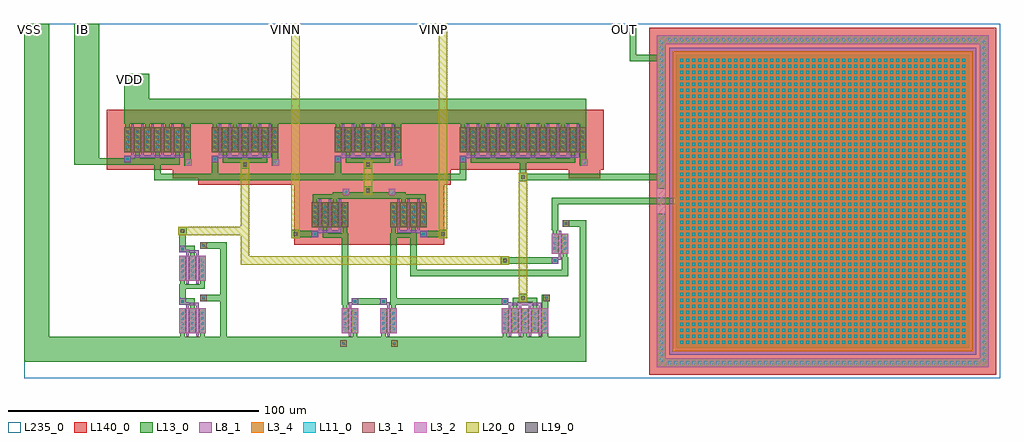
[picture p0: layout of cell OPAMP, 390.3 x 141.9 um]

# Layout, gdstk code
from math import pi, radians
import gdstk
lib = gdstk.Library(unit=1e-6, precision=1e-07)
def R(c, l, rs):  # rectangles x0, y0, x1, y1
    for r in rs: c.add(gdstk.rectangle(r[:2], r[2:], *l))
def A(c, l, x, y, w, h, nx, ny, dx, dy):  # array of equal rectangles
    R(c, l, [(x+i*dx, y+j*dy, x+i*dx+w, y+j*dy+h) for i in range(nx) for j in range(ny)])
def P(c, l, *ps):  # polygons
    for p in ps: c.add(gdstk.Polygon(p, *l))
L3_1 = (3, 1)
L3_2 = (3, 2)
L3_4 = (3, 4)
L8_1 = (8, 1)
L11_0 = (11, 0)
L13_0 = (13, 0)
L19_0 = (19, 0)
L20_0 = (20, 0)
L140_0 = (140, 0)
L235_0 = (235, 0)

dcont = lib.new_cell('dcont')
R(dcont, L11_0, [(-0.5,-0.5,0.5,0.5)])
R(dcont, L13_0, [(-1.3,-1.3,1.3,1.3), (-0.5,-0.5,0.5,0.5)])

nsubcont = lib.new_cell('nsubcont')
R(nsubcont, L3_2, [(-1.3,-1.3,1.3,1.3)])
R(nsubcont, L11_0, [(-0.5,-0.5,0.5,0.5)])
R(nsubcont, L13_0, [(-1.3,-1.3,1.3,1.3), (-0.5,-0.5,0.5,0.5)])
R(nsubcont, L140_0, [(-6.3,-6.3,6.3,6.3)])

mp_4 = lib.new_cell('MP$4')
R(mp_4, L3_1, [(0,3.6,50.6,13.6), (0,3.6,50.6,13.6)])
P(mp_4, L8_1, [(0,-0.4),(0,2.2),(2.8,2.2),(2.8,14.8),(3.8,14.8),(3.8,2.4),(6.8,2.4),(6.8,14.8),(7.8,14.8),(7.8,2.4),(10.8,2.4),(10.8,14.8),(11.8,14.8),(11.8,2.4),(14.8,2.4),(14.8,14.8),(15.8,14.8),(15.8,2.4),(18.8,2.4),(18.8,14.8),(19.8,14.8),(19.8,2.4),(22.8,2.4),(22.8,14.8),(23.8,14.8),(23.8,2.4),(26.8,2.4),(26.8,14.8),(27.8,14.8),(27.8,2.4),(30.8,2.4),(30.8,14.8),(31.8,14.8),(31.8,2.4),(34.8,2.4),(34.8,14.8),(35.8,14.8),(35.8,2.4),(38.8,2.4),(38.8,14.8),(39.8,14.8),(39.8,2.4),(42.8,2.4),(42.8,14.8),(43.8,14.8),(43.8,2.4),(46.8,2.4),(46.8,14.8),(47.8,14.8),(47.8,1.4),(3.8,1.4),(3.8,1.2),(2.6,1.2),(2.6,-0.4)])
R(mp_4, L11_0, [(0.8,0.4,1.8,1.4)])
R(mp_4, L13_0, [(0,-0.4,2.6,2.2), (0.8,0.4,1.8,1.4)])
R(mp_4, L140_0, [(-7,-3.4,57.6,20.6)])
mp_4.add(gdstk.FlexPath([(1.3,3.6),(1.3,13.6)], 2.6, ends="flush", simple_path=True, layer=13, datatype=0))  # L13_0
mp_4.add(gdstk.FlexPath([(5.3,3.6),(5.3,13.6)], 2.6, ends="flush", simple_path=True, layer=13, datatype=0))  # L13_0
mp_4.add(gdstk.FlexPath([(9.3,3.6),(9.3,13.6)], 2.6, ends="flush", simple_path=True, layer=13, datatype=0))  # L13_0
mp_4.add(gdstk.FlexPath([(13.3,3.6),(13.3,13.6)], 2.6, ends="flush", simple_path=True, layer=13, datatype=0))  # L13_0
mp_4.add(gdstk.FlexPath([(17.3,3.6),(17.3,13.6)], 2.6, ends="flush", simple_path=True, layer=13, datatype=0))  # L13_0
mp_4.add(gdstk.FlexPath([(21.3,3.6),(21.3,13.6)], 2.6, ends="flush", simple_path=True, layer=13, datatype=0))  # L13_0
mp_4.add(gdstk.FlexPath([(25.3,3.6),(25.3,13.6)], 2.6, ends="flush", simple_path=True, layer=13, datatype=0))  # L13_0
mp_4.add(gdstk.FlexPath([(29.3,3.6),(29.3,13.6)], 2.6, ends="flush", simple_path=True, layer=13, datatype=0))  # L13_0
mp_4.add(gdstk.FlexPath([(33.3,3.6),(33.3,13.6)], 2.6, ends="flush", simple_path=True, layer=13, datatype=0))  # L13_0
mp_4.add(gdstk.FlexPath([(37.3,3.6),(37.3,13.6)], 2.6, ends="flush", simple_path=True, layer=13, datatype=0))  # L13_0
mp_4.add(gdstk.FlexPath([(41.3,3.6),(41.3,13.6)], 2.6, ends="flush", simple_path=True, layer=13, datatype=0))  # L13_0
mp_4.add(gdstk.FlexPath([(45.3,3.6),(45.3,13.6)], 2.6, ends="flush", simple_path=True, layer=13, datatype=0))  # L13_0
mp_4.add(gdstk.FlexPath([(49.3,3.6),(49.3,13.6)], 2.6, ends="flush", simple_path=True, layer=13, datatype=0))  # L13_0
mp_4.add(gdstk.FlexPath([(1.3,12.6),(1.3,15.9)], 1.8, ends="flush", simple_path=True, layer=13, datatype=0))  # L13_0
mp_4.add(gdstk.FlexPath([(5.3,0.3),(5.3,4.6)], 1.8, ends="flush", simple_path=True, layer=13, datatype=0))  # L13_0
mp_4.add(gdstk.FlexPath([(9.3,12.6),(9.3,15.9)], 1.8, ends="flush", simple_path=True, layer=13, datatype=0))  # L13_0
mp_4.add(gdstk.FlexPath([(1.3,15.9),(9.3,15.9)], 1.8, ends="extended", simple_path=True, layer=13, datatype=0))  # L13_0
mp_4.add(gdstk.FlexPath([(13.3,0.3),(13.3,4.6)], 1.8, ends="flush", simple_path=True, layer=13, datatype=0))  # L13_0
mp_4.add(gdstk.FlexPath([(5.3,0.3),(13.3,0.3)], 1.8, ends="extended", simple_path=True, layer=13, datatype=0))  # L13_0
mp_4.add(gdstk.FlexPath([(17.3,12.6),(17.3,15.9)], 1.8, ends="flush", simple_path=True, layer=13, datatype=0))  # L13_0
mp_4.add(gdstk.FlexPath([(9.3,15.9),(17.3,15.9)], 1.8, ends="extended", simple_path=True, layer=13, datatype=0))  # L13_0
mp_4.add(gdstk.FlexPath([(21.3,0.3),(21.3,4.6)], 1.8, ends="flush", simple_path=True, layer=13, datatype=0))  # L13_0
mp_4.add(gdstk.FlexPath([(13.3,0.3),(21.3,0.3)], 1.8, ends="extended", simple_path=True, layer=13, datatype=0))  # L13_0
mp_4.add(gdstk.FlexPath([(25.3,12.6),(25.3,15.9)], 1.8, ends="flush", simple_path=True, layer=13, datatype=0))  # L13_0
mp_4.add(gdstk.FlexPath([(17.3,15.9),(25.3,15.9)], 1.8, ends="extended", simple_path=True, layer=13, datatype=0))  # L13_0
mp_4.add(gdstk.FlexPath([(29.3,0.3),(29.3,4.6)], 1.8, ends="flush", simple_path=True, layer=13, datatype=0))  # L13_0
mp_4.add(gdstk.FlexPath([(21.3,0.3),(29.3,0.3)], 1.8, ends="extended", simple_path=True, layer=13, datatype=0))  # L13_0
mp_4.add(gdstk.FlexPath([(33.3,12.6),(33.3,15.9)], 1.8, ends="flush", simple_path=True, layer=13, datatype=0))  # L13_0
mp_4.add(gdstk.FlexPath([(25.3,15.9),(33.3,15.9)], 1.8, ends="extended", simple_path=True, layer=13, datatype=0))  # L13_0
mp_4.add(gdstk.FlexPath([(37.3,0.3),(37.3,4.6)], 1.8, ends="flush", simple_path=True, layer=13, datatype=0))  # L13_0
mp_4.add(gdstk.FlexPath([(29.3,0.3),(37.3,0.3)], 1.8, ends="extended", simple_path=True, layer=13, datatype=0))  # L13_0
mp_4.add(gdstk.FlexPath([(41.3,12.6),(41.3,15.9)], 1.8, ends="flush", simple_path=True, layer=13, datatype=0))  # L13_0
mp_4.add(gdstk.FlexPath([(33.3,15.9),(41.3,15.9)], 1.8, ends="extended", simple_path=True, layer=13, datatype=0))  # L13_0
mp_4.add(gdstk.FlexPath([(45.3,0.3),(45.3,4.6)], 1.8, ends="flush", simple_path=True, layer=13, datatype=0))  # L13_0
mp_4.add(gdstk.FlexPath([(37.3,0.3),(45.3,0.3)], 1.8, ends="extended", simple_path=True, layer=13, datatype=0))  # L13_0
mp_4.add(gdstk.FlexPath([(49.3,12.6),(49.3,15.9)], 1.8, ends="flush", simple_path=True, layer=13, datatype=0))  # L13_0
mp_4.add(gdstk.FlexPath([(41.3,15.9),(49.3,15.9)], 1.8, ends="extended", simple_path=True, layer=13, datatype=0))  # L13_0
mp_4.add(gdstk.Reference(dcont, (1.3,5.6)))
mp_4.add(gdstk.Reference(dcont, (1.3,7.6)))
mp_4.add(gdstk.Reference(dcont, (1.3,9.6)))
mp_4.add(gdstk.Reference(dcont, (1.3,11.6)))
mp_4.add(gdstk.Reference(dcont, (5.3,5.6)))
mp_4.add(gdstk.Reference(dcont, (5.3,7.6)))
mp_4.add(gdstk.Reference(dcont, (5.3,9.6)))
mp_4.add(gdstk.Reference(dcont, (5.3,11.6)))
mp_4.add(gdstk.Reference(dcont, (9.3,5.6)))
mp_4.add(gdstk.Reference(dcont, (9.3,7.6)))
mp_4.add(gdstk.Reference(dcont, (9.3,9.6)))
mp_4.add(gdstk.Reference(dcont, (9.3,11.6)))
mp_4.add(gdstk.Reference(dcont, (13.3,5.6)))
mp_4.add(gdstk.Reference(dcont, (13.3,7.6)))
mp_4.add(gdstk.Reference(dcont, (13.3,9.6)))
mp_4.add(gdstk.Reference(dcont, (13.3,11.6)))
mp_4.add(gdstk.Reference(dcont, (17.3,5.6)))
mp_4.add(gdstk.Reference(dcont, (17.3,7.6)))
mp_4.add(gdstk.Reference(dcont, (17.3,9.6)))
mp_4.add(gdstk.Reference(dcont, (17.3,11.6)))
mp_4.add(gdstk.Reference(dcont, (21.3,5.6)))
mp_4.add(gdstk.Reference(dcont, (21.3,7.6)))
mp_4.add(gdstk.Reference(dcont, (21.3,9.6)))
mp_4.add(gdstk.Reference(dcont, (21.3,11.6)))
mp_4.add(gdstk.Reference(dcont, (25.3,5.6)))
mp_4.add(gdstk.Reference(dcont, (25.3,7.6)))
mp_4.add(gdstk.Reference(dcont, (25.3,9.6)))
mp_4.add(gdstk.Reference(dcont, (25.3,11.6)))
mp_4.add(gdstk.Reference(dcont, (29.3,5.6)))
mp_4.add(gdstk.Reference(dcont, (29.3,7.6)))
mp_4.add(gdstk.Reference(dcont, (29.3,9.6)))
mp_4.add(gdstk.Reference(dcont, (29.3,11.6)))
mp_4.add(gdstk.Reference(dcont, (33.3,5.6)))
mp_4.add(gdstk.Reference(dcont, (33.3,7.6)))
mp_4.add(gdstk.Reference(dcont, (33.3,9.6)))
mp_4.add(gdstk.Reference(dcont, (33.3,11.6)))
mp_4.add(gdstk.Reference(dcont, (37.3,5.6)))
mp_4.add(gdstk.Reference(dcont, (37.3,7.6)))
mp_4.add(gdstk.Reference(dcont, (37.3,9.6)))
mp_4.add(gdstk.Reference(dcont, (37.3,11.6)))
mp_4.add(gdstk.Reference(dcont, (41.3,5.6)))
mp_4.add(gdstk.Reference(dcont, (41.3,7.6)))
mp_4.add(gdstk.Reference(dcont, (41.3,9.6)))
mp_4.add(gdstk.Reference(dcont, (41.3,11.6)))
mp_4.add(gdstk.Reference(dcont, (45.3,5.6)))
mp_4.add(gdstk.Reference(dcont, (45.3,7.6)))
mp_4.add(gdstk.Reference(dcont, (45.3,9.6)))
mp_4.add(gdstk.Reference(dcont, (45.3,11.6)))
mp_4.add(gdstk.Reference(dcont, (49.3,5.6)))
mp_4.add(gdstk.Reference(dcont, (49.3,7.6)))
mp_4.add(gdstk.Reference(dcont, (49.3,9.6)))
mp_4.add(gdstk.Reference(dcont, (49.3,11.6)))
mp_4.add(gdstk.Reference(nsubcont, (49.8,-0.5)))

mp_9 = lib.new_cell('MP$9')
R(mp_9, L3_1, [(0,3.6,26.6,13.6), (0,3.6,26.6,13.6)])
P(mp_9, L8_1, [(0,-0.4),(0,2.2),(2.8,2.2),(2.8,14.8),(3.8,14.8),(3.8,2.4),(6.8,2.4),(6.8,14.8),(7.8,14.8),(7.8,2.4),(10.8,2.4),(10.8,14.8),(11.8,14.8),(11.8,2.4),(14.8,2.4),(14.8,14.8),(15.8,14.8),(15.8,2.4),(18.8,2.4),(18.8,14.8),(19.8,14.8),(19.8,2.4),(22.8,2.4),(22.8,14.8),(23.8,14.8),(23.8,1.4),(3.8,1.4),(3.8,1.2),(2.6,1.2),(2.6,-0.4)])
R(mp_9, L11_0, [(0.8,0.4,1.8,1.4)])
R(mp_9, L13_0, [(0,-0.4,2.6,2.2), (0.8,0.4,1.8,1.4)])
R(mp_9, L140_0, [(-7,-3.4,33.6,20.6)])
mp_9.add(gdstk.FlexPath([(1.3,3.6),(1.3,13.6)], 2.6, ends="flush", simple_path=True, layer=13, datatype=0))  # L13_0
mp_9.add(gdstk.FlexPath([(5.3,3.6),(5.3,13.6)], 2.6, ends="flush", simple_path=True, layer=13, datatype=0))  # L13_0
mp_9.add(gdstk.FlexPath([(9.3,3.6),(9.3,13.6)], 2.6, ends="flush", simple_path=True, layer=13, datatype=0))  # L13_0
mp_9.add(gdstk.FlexPath([(13.3,3.6),(13.3,13.6)], 2.6, ends="flush", simple_path=True, layer=13, datatype=0))  # L13_0
mp_9.add(gdstk.FlexPath([(17.3,3.6),(17.3,13.6)], 2.6, ends="flush", simple_path=True, layer=13, datatype=0))  # L13_0
mp_9.add(gdstk.FlexPath([(21.3,3.6),(21.3,13.6)], 2.6, ends="flush", simple_path=True, layer=13, datatype=0))  # L13_0
mp_9.add(gdstk.FlexPath([(25.3,3.6),(25.3,13.6)], 2.6, ends="flush", simple_path=True, layer=13, datatype=0))  # L13_0
mp_9.add(gdstk.FlexPath([(1.3,12.6),(1.3,15.9)], 1.8, ends="flush", simple_path=True, layer=13, datatype=0))  # L13_0
mp_9.add(gdstk.FlexPath([(5.3,0.3),(5.3,4.6)], 1.8, ends="flush", simple_path=True, layer=13, datatype=0))  # L13_0
mp_9.add(gdstk.FlexPath([(9.3,12.6),(9.3,15.9)], 1.8, ends="flush", simple_path=True, layer=13, datatype=0))  # L13_0
mp_9.add(gdstk.FlexPath([(1.3,15.9),(9.3,15.9)], 1.8, ends="extended", simple_path=True, layer=13, datatype=0))  # L13_0
mp_9.add(gdstk.FlexPath([(13.3,0.3),(13.3,4.6)], 1.8, ends="flush", simple_path=True, layer=13, datatype=0))  # L13_0
mp_9.add(gdstk.FlexPath([(5.3,0.3),(13.3,0.3)], 1.8, ends="extended", simple_path=True, layer=13, datatype=0))  # L13_0
mp_9.add(gdstk.FlexPath([(17.3,12.6),(17.3,15.9)], 1.8, ends="flush", simple_path=True, layer=13, datatype=0))  # L13_0
mp_9.add(gdstk.FlexPath([(9.3,15.9),(17.3,15.9)], 1.8, ends="extended", simple_path=True, layer=13, datatype=0))  # L13_0
mp_9.add(gdstk.FlexPath([(21.3,0.3),(21.3,4.6)], 1.8, ends="flush", simple_path=True, layer=13, datatype=0))  # L13_0
mp_9.add(gdstk.FlexPath([(13.3,0.3),(21.3,0.3)], 1.8, ends="extended", simple_path=True, layer=13, datatype=0))  # L13_0
mp_9.add(gdstk.FlexPath([(25.3,12.6),(25.3,15.9)], 1.8, ends="flush", simple_path=True, layer=13, datatype=0))  # L13_0
mp_9.add(gdstk.FlexPath([(17.3,15.9),(25.3,15.9)], 1.8, ends="extended", simple_path=True, layer=13, datatype=0))  # L13_0
mp_9.add(gdstk.Reference(dcont, (1.3,5.6)))
mp_9.add(gdstk.Reference(dcont, (1.3,7.6)))
mp_9.add(gdstk.Reference(dcont, (1.3,9.6)))
mp_9.add(gdstk.Reference(dcont, (1.3,11.6)))
mp_9.add(gdstk.Reference(dcont, (5.3,5.6)))
mp_9.add(gdstk.Reference(dcont, (5.3,7.6)))
mp_9.add(gdstk.Reference(dcont, (5.3,9.6)))
mp_9.add(gdstk.Reference(dcont, (5.3,11.6)))
mp_9.add(gdstk.Reference(dcont, (9.3,5.6)))
mp_9.add(gdstk.Reference(dcont, (9.3,7.6)))
mp_9.add(gdstk.Reference(dcont, (9.3,9.6)))
mp_9.add(gdstk.Reference(dcont, (9.3,11.6)))
mp_9.add(gdstk.Reference(dcont, (13.3,5.6)))
mp_9.add(gdstk.Reference(dcont, (13.3,7.6)))
mp_9.add(gdstk.Reference(dcont, (13.3,9.6)))
mp_9.add(gdstk.Reference(dcont, (13.3,11.6)))
mp_9.add(gdstk.Reference(dcont, (17.3,5.6)))
mp_9.add(gdstk.Reference(dcont, (17.3,7.6)))
mp_9.add(gdstk.Reference(dcont, (17.3,9.6)))
mp_9.add(gdstk.Reference(dcont, (17.3,11.6)))
mp_9.add(gdstk.Reference(dcont, (21.3,5.6)))
mp_9.add(gdstk.Reference(dcont, (21.3,7.6)))
mp_9.add(gdstk.Reference(dcont, (21.3,9.6)))
mp_9.add(gdstk.Reference(dcont, (21.3,11.6)))
mp_9.add(gdstk.Reference(dcont, (25.3,5.6)))
mp_9.add(gdstk.Reference(dcont, (25.3,7.6)))
mp_9.add(gdstk.Reference(dcont, (25.3,9.6)))
mp_9.add(gdstk.Reference(dcont, (25.3,11.6)))
mp_9.add(gdstk.Reference(nsubcont, (25.8,-0.5)))

c_mp = lib.new_cell('MP')
R(c_mp, L3_1, [(0,3.6,14.6,13.6), (0,3.6,14.6,13.6)])
P(c_mp, L8_1, [(0,-0.4),(0,2.2),(2.8,2.2),(2.8,14.8),(3.8,14.8),(3.8,2.4),(6.8,2.4),(6.8,14.8),(7.8,14.8),(7.8,2.4),(10.8,2.4),(10.8,14.8),(11.8,14.8),(11.8,1.4),(3.8,1.4),(3.8,1.2),(2.6,1.2),(2.6,-0.4)])
R(c_mp, L11_0, [(0.8,0.4,1.8,1.4)])
R(c_mp, L13_0, [(0,-0.4,2.6,2.2), (0.8,0.4,1.8,1.4)])
R(c_mp, L140_0, [(-7,-3.4,21.6,20.6)])
c_mp.add(gdstk.FlexPath([(1.3,3.6),(1.3,13.6)], 2.6, ends="flush", simple_path=True, layer=13, datatype=0))  # L13_0
c_mp.add(gdstk.FlexPath([(5.3,3.6),(5.3,13.6)], 2.6, ends="flush", simple_path=True, layer=13, datatype=0))  # L13_0
c_mp.add(gdstk.FlexPath([(9.3,3.6),(9.3,13.6)], 2.6, ends="flush", simple_path=True, layer=13, datatype=0))  # L13_0
c_mp.add(gdstk.FlexPath([(13.3,3.6),(13.3,13.6)], 2.6, ends="flush", simple_path=True, layer=13, datatype=0))  # L13_0
c_mp.add(gdstk.FlexPath([(1.3,12.6),(1.3,15.9)], 1.8, ends="flush", simple_path=True, layer=13, datatype=0))  # L13_0
c_mp.add(gdstk.FlexPath([(5.3,0.3),(5.3,4.6)], 1.8, ends="flush", simple_path=True, layer=13, datatype=0))  # L13_0
c_mp.add(gdstk.FlexPath([(9.3,12.6),(9.3,15.9)], 1.8, ends="flush", simple_path=True, layer=13, datatype=0))  # L13_0
c_mp.add(gdstk.FlexPath([(1.3,15.9),(9.3,15.9)], 1.8, ends="extended", simple_path=True, layer=13, datatype=0))  # L13_0
c_mp.add(gdstk.FlexPath([(13.3,0.3),(13.3,4.6)], 1.8, ends="flush", simple_path=True, layer=13, datatype=0))  # L13_0
c_mp.add(gdstk.FlexPath([(5.3,0.3),(13.3,0.3)], 1.8, ends="extended", simple_path=True, layer=13, datatype=0))  # L13_0
c_mp.add(gdstk.Reference(dcont, (1.3,5.6)))
c_mp.add(gdstk.Reference(dcont, (1.3,7.6)))
c_mp.add(gdstk.Reference(dcont, (1.3,9.6)))
c_mp.add(gdstk.Reference(dcont, (1.3,11.6)))
c_mp.add(gdstk.Reference(dcont, (5.3,5.6)))
c_mp.add(gdstk.Reference(dcont, (5.3,7.6)))
c_mp.add(gdstk.Reference(dcont, (5.3,9.6)))
c_mp.add(gdstk.Reference(dcont, (5.3,11.6)))
c_mp.add(gdstk.Reference(dcont, (9.3,5.6)))
c_mp.add(gdstk.Reference(dcont, (9.3,7.6)))
c_mp.add(gdstk.Reference(dcont, (9.3,9.6)))
c_mp.add(gdstk.Reference(dcont, (9.3,11.6)))
c_mp.add(gdstk.Reference(dcont, (13.3,5.6)))
c_mp.add(gdstk.Reference(dcont, (13.3,7.6)))
c_mp.add(gdstk.Reference(dcont, (13.3,9.6)))
c_mp.add(gdstk.Reference(dcont, (13.3,11.6)))
c_mp.add(gdstk.Reference(nsubcont, (13.8,17.7)))

psubcont = lib.new_cell('psubcont')
R(psubcont, L3_1, [(-1.3,-1.3,1.3,1.3)])
R(psubcont, L11_0, [(-0.5,-0.5,0.5,0.5)])
R(psubcont, L13_0, [(-1.3,-1.3,1.3,1.3), (-0.5,-0.5,0.5,0.5)])

mn_5 = lib.new_cell('MN$5')
R(mn_5, L3_2, [(0,3.6,10.6,13.6), (0,3.6,10.6,13.6)])
P(mn_5, L8_1, [(2.8,2.4),(2.8,15),(0,15),(0,17.6),(2.6,17.6),(2.6,16),(3.8,16),(3.8,15.8),(7.8,15.8),(7.8,2.4),(6.8,2.4),(6.8,14.8),(3.8,14.8),(3.8,2.4)])
R(mn_5, L11_0, [(0.8,15.8,1.8,16.8)])
R(mn_5, L13_0, [(0,15,2.6,17.6), (0.8,15.8,1.8,16.8)])
mn_5.add(gdstk.FlexPath([(1.3,3.6),(1.3,13.6)], 2.6, ends="flush", simple_path=True, layer=13, datatype=0))  # L13_0
mn_5.add(gdstk.FlexPath([(5.3,3.6),(5.3,13.6)], 2.6, ends="flush", simple_path=True, layer=13, datatype=0))  # L13_0
mn_5.add(gdstk.FlexPath([(9.3,3.6),(9.3,13.6)], 2.6, ends="flush", simple_path=True, layer=13, datatype=0))  # L13_0
mn_5.add(gdstk.FlexPath([(1.3,1.3),(1.3,4.6)], 1.8, ends="flush", simple_path=True, layer=13, datatype=0))  # L13_0
mn_5.add(gdstk.FlexPath([(5.3,12.6),(5.3,16.9)], 1.8, ends="flush", simple_path=True, layer=13, datatype=0))  # L13_0
mn_5.add(gdstk.FlexPath([(9.3,1.3),(9.3,4.6)], 1.8, ends="flush", simple_path=True, layer=13, datatype=0))  # L13_0
mn_5.add(gdstk.FlexPath([(1.3,1.3),(9.3,1.3)], 1.8, ends="extended", simple_path=True, layer=13, datatype=0))  # L13_0
mn_5.add(gdstk.Reference(dcont, (1.3,5.6)))
mn_5.add(gdstk.Reference(dcont, (1.3,7.6)))
mn_5.add(gdstk.Reference(dcont, (1.3,9.6)))
mn_5.add(gdstk.Reference(dcont, (1.3,11.6)))
mn_5.add(gdstk.Reference(dcont, (5.3,5.6)))
mn_5.add(gdstk.Reference(dcont, (5.3,7.6)))
mn_5.add(gdstk.Reference(dcont, (5.3,9.6)))
mn_5.add(gdstk.Reference(dcont, (5.3,11.6)))
mn_5.add(gdstk.Reference(dcont, (9.3,5.6)))
mn_5.add(gdstk.Reference(dcont, (9.3,7.6)))
mn_5.add(gdstk.Reference(dcont, (9.3,9.6)))
mn_5.add(gdstk.Reference(dcont, (9.3,11.6)))
mn_5.add(gdstk.Reference(psubcont, (9.8,17.7)))

via = lib.new_cell('Via')
R(via, L13_0, [(-1.7,-1.7,1.7,1.7)])
R(via, L19_0, [(-0.7,-0.7,0.7,0.7)])
R(via, L20_0, [(-1.7,-1.7,1.7,1.7)])

c_mn = lib.new_cell('MN')
R(c_mn, L3_2, [(0,3.6,6.6,13.6), (0,3.6,6.6,13.6)])
P(c_mn, L8_1, [(2.8,2.4),(2.8,15),(0,15),(0,17.6),(2.6,17.6),(2.6,16),(3.8,16),(3.8,2.4)])
R(c_mn, L11_0, [(0.8,15.8,1.8,16.8)])
R(c_mn, L13_0, [(0,15,2.6,17.6), (0.8,15.8,1.8,16.8)])
c_mn.add(gdstk.FlexPath([(1.3,3.6),(1.3,13.6)], 2.6, ends="flush", simple_path=True, layer=13, datatype=0))  # L13_0
c_mn.add(gdstk.FlexPath([(5.3,3.6),(5.3,13.6)], 2.6, ends="flush", simple_path=True, layer=13, datatype=0))  # L13_0
c_mn.add(gdstk.FlexPath([(1.3,1.3),(1.3,4.6)], 1.8, ends="flush", simple_path=True, layer=13, datatype=0))  # L13_0
c_mn.add(gdstk.FlexPath([(5.3,12.6),(5.3,15.9)], 1.8, ends="flush", simple_path=True, layer=13, datatype=0))  # L13_0
c_mn.add(gdstk.Reference(dcont, (1.3,5.6)))
c_mn.add(gdstk.Reference(dcont, (1.3,7.6)))
c_mn.add(gdstk.Reference(dcont, (1.3,9.6)))
c_mn.add(gdstk.Reference(dcont, (1.3,11.6)))
c_mn.add(gdstk.Reference(dcont, (5.3,5.6)))
c_mn.add(gdstk.Reference(dcont, (5.3,7.6)))
c_mn.add(gdstk.Reference(dcont, (5.3,9.6)))
c_mn.add(gdstk.Reference(dcont, (5.3,11.6)))
c_mn.add(gdstk.Reference(psubcont, (5.8,-0.5)))

mn_10 = lib.new_cell('MN$10')
R(mn_10, L3_2, [(0,3.6,6.6,11.6), (0,3.6,6.6,11.6)])
P(mn_10, L8_1, [(2.8,2.4),(2.8,13),(0,13),(0,15.6),(2.6,15.6),(2.6,14),(3.8,14),(3.8,2.4)])
R(mn_10, L11_0, [(0.8,13.8,1.8,14.8)])
R(mn_10, L13_0, [(0,13,2.6,15.6), (0.8,13.8,1.8,14.8)])
mn_10.add(gdstk.FlexPath([(1.3,3.6),(1.3,11.6)], 2.6, ends="flush", simple_path=True, layer=13, datatype=0))  # L13_0
mn_10.add(gdstk.FlexPath([(5.3,3.6),(5.3,11.6)], 2.6, ends="flush", simple_path=True, layer=13, datatype=0))  # L13_0
mn_10.add(gdstk.FlexPath([(1.3,1.3),(1.3,4.6)], 1.8, ends="flush", simple_path=True, layer=13, datatype=0))  # L13_0
mn_10.add(gdstk.FlexPath([(5.3,10.6),(5.3,13.9)], 1.8, ends="flush", simple_path=True, layer=13, datatype=0))  # L13_0
mn_10.add(gdstk.Reference(dcont, (1.3,5.6)))
mn_10.add(gdstk.Reference(dcont, (1.3,7.6)))
mn_10.add(gdstk.Reference(dcont, (1.3,9.6)))
mn_10.add(gdstk.Reference(dcont, (5.3,5.6)))
mn_10.add(gdstk.Reference(dcont, (5.3,7.6)))
mn_10.add(gdstk.Reference(dcont, (5.3,9.6)))
mn_10.add(gdstk.Reference(psubcont, (5.8,-0.5)))

mn_11 = lib.new_cell('MN$11')
R(mn_11, L3_2, [(0,3.6,18.6,13.6), (0,3.6,18.6,13.6)])
P(mn_11, L8_1, [(2.8,2.4),(2.8,15),(0,15),(0,17.6),(2.6,17.6),(2.6,16),(3.8,16),(3.8,15.8),(15.8,15.8),(15.8,2.4),(14.8,2.4),(14.8,14.8),(11.8,14.8),(11.8,2.4),(10.8,2.4),(10.8,14.8),(7.8,14.8),(7.8,2.4),(6.8,2.4),(6.8,14.8),(3.8,14.8),(3.8,2.4)])
R(mn_11, L11_0, [(0.8,15.8,1.8,16.8)])
R(mn_11, L13_0, [(0,15,2.6,17.6), (0.8,15.8,1.8,16.8)])
mn_11.add(gdstk.FlexPath([(1.3,3.6),(1.3,13.6)], 2.6, ends="flush", simple_path=True, layer=13, datatype=0))  # L13_0
mn_11.add(gdstk.FlexPath([(5.3,3.6),(5.3,13.6)], 2.6, ends="flush", simple_path=True, layer=13, datatype=0))  # L13_0
mn_11.add(gdstk.FlexPath([(9.3,3.6),(9.3,13.6)], 2.6, ends="flush", simple_path=True, layer=13, datatype=0))  # L13_0
mn_11.add(gdstk.FlexPath([(13.3,3.6),(13.3,13.6)], 2.6, ends="flush", simple_path=True, layer=13, datatype=0))  # L13_0
mn_11.add(gdstk.FlexPath([(17.3,3.6),(17.3,13.6)], 2.6, ends="flush", simple_path=True, layer=13, datatype=0))  # L13_0
mn_11.add(gdstk.FlexPath([(1.3,1.3),(1.3,4.6)], 1.8, ends="flush", simple_path=True, layer=13, datatype=0))  # L13_0
mn_11.add(gdstk.FlexPath([(5.3,12.6),(5.3,16.9)], 1.8, ends="flush", simple_path=True, layer=13, datatype=0))  # L13_0
mn_11.add(gdstk.FlexPath([(9.3,1.3),(9.3,4.6)], 1.8, ends="flush", simple_path=True, layer=13, datatype=0))  # L13_0
mn_11.add(gdstk.FlexPath([(1.3,1.3),(9.3,1.3)], 1.8, ends="extended", simple_path=True, layer=13, datatype=0))  # L13_0
mn_11.add(gdstk.FlexPath([(13.3,12.6),(13.3,16.9)], 1.8, ends="flush", simple_path=True, layer=13, datatype=0))  # L13_0
mn_11.add(gdstk.FlexPath([(5.3,16.9),(13.3,16.9)], 1.8, ends="extended", simple_path=True, layer=13, datatype=0))  # L13_0
mn_11.add(gdstk.FlexPath([(17.3,1.3),(17.3,4.6)], 1.8, ends="flush", simple_path=True, layer=13, datatype=0))  # L13_0
mn_11.add(gdstk.FlexPath([(9.3,1.3),(17.3,1.3)], 1.8, ends="extended", simple_path=True, layer=13, datatype=0))  # L13_0
mn_11.add(gdstk.Reference(dcont, (1.3,5.6)))
mn_11.add(gdstk.Reference(dcont, (1.3,7.6)))
mn_11.add(gdstk.Reference(dcont, (1.3,9.6)))
mn_11.add(gdstk.Reference(dcont, (1.3,11.6)))
mn_11.add(gdstk.Reference(dcont, (5.3,5.6)))
mn_11.add(gdstk.Reference(dcont, (5.3,7.6)))
mn_11.add(gdstk.Reference(dcont, (5.3,9.6)))
mn_11.add(gdstk.Reference(dcont, (5.3,11.6)))
mn_11.add(gdstk.Reference(dcont, (9.3,5.6)))
mn_11.add(gdstk.Reference(dcont, (9.3,7.6)))
mn_11.add(gdstk.Reference(dcont, (9.3,9.6)))
mn_11.add(gdstk.Reference(dcont, (9.3,11.6)))
mn_11.add(gdstk.Reference(dcont, (13.3,5.6)))
mn_11.add(gdstk.Reference(dcont, (13.3,7.6)))
mn_11.add(gdstk.Reference(dcont, (13.3,9.6)))
mn_11.add(gdstk.Reference(dcont, (13.3,11.6)))
mn_11.add(gdstk.Reference(dcont, (17.3,5.6)))
mn_11.add(gdstk.Reference(dcont, (17.3,7.6)))
mn_11.add(gdstk.Reference(dcont, (17.3,9.6)))
mn_11.add(gdstk.Reference(dcont, (17.3,11.6)))
mn_11.add(gdstk.Reference(psubcont, (17.8,17.7)))

csio = lib.new_cell('CSIO')
P(csio, L3_2, [(-66.4,-66.4),(-66.4,62.8),(-62.8,62.8),(-62.8,-62.8),(62.8,-62.8),(62.8,62.8),(-66.4,62.8),(-66.4,66.4),(66.4,66.4),(66.4,-66.4)])
R(csio, L3_4, [(-60,-60,60,60)])
R(csio, L8_1, [(-61.4,-61.4,61.4,61.4)])
A(csio, L11_0, -64.2, -65.2, 1.2, 1.2, 24, 1, 2.4, 0)
A(csio, L11_0, 7.8, -65.2, 1.2, 1.2, 24, 1, 2.4, 0)
A(csio, L11_0, -65.2, -61.8, 1.2, 1.2, 1, 52, 0, 2.4)
A(csio, L11_0, 64, -61.8, 1.2, 1.2, 1, 52, 0, 2.4)
A(csio, L11_0, -57, -57, 1.2, 1.2, 48, 48, 2.4, 2.4)
A(csio, L11_0, -64.2, 64, 1.2, 1.2, 54, 1, 2.4, 0)
R(csio, L13_0, [(-58.6,-58.6,58.6,58.6)])
P(csio, L13_0, [(-66.4,-66.4),(-66.4,66.4),(66.4,66.4),(66.4,-66.4),(5,-66.4),(5,-62.8),(62.8,-62.8),(62.8,62.8),(-62.8,62.8),(-62.8,-62.8),(-5,-62.8),(-5,-66.4)])
R(csio, L140_0, [(-69.4,-69.4,69.4,69.4)])

opamp = lib.new_cell('OPAMP')
R(opamp, L140_0, [(-165.6,11.6,-158.4,39), (-230.3,35.6,-129.3,65.6)])
R(opamp, L235_0, [(-300,-41.9,90.3,100)])
opamp.add(gdstk.FlexPath([(-56.5,100),(-56.5,86.3),(-43.3,86.3)], 2.6, ends="flush", simple_path=True, layer=13, datatype=0))  # L13_0
opamp.add(gdstk.FlexPath([(-87.7,17.4),(-87.7,29),(-35.2,29)], 2.6, ends="flush", simple_path=True, layer=13, datatype=0))  # L13_0
opamp.add(gdstk.FlexPath([(-100.4,46.2),(-100.4,38.7),(-43.4,38.7)], 2.6, ends="flush", simple_path=True, layer=13, datatype=0))  # L13_0
opamp.add(gdstk.FlexPath([(-236.7,18.7),(-236.7,9.8),(-231.8,9.8)], 2.6, ends="flush", simple_path=True, layer=13, datatype=0))  # L13_0
opamp.add(gdstk.FlexPath([(-220.2,-35.3),(-220.2,11.2),(-229.5,11.2)], 2.6, ends="flush", simple_path=True, layer=13, datatype=0))  # L13_0
opamp.add(gdstk.FlexPath([(-236.7,-4.3),(-236.7,-11.2),(-231.8,-11.2)], 2.6, ends="flush", simple_path=True, layer=13, datatype=0))  # L13_0
opamp.add(gdstk.FlexPath([(-229.5,-9.8),(-218.9,-9.8),(-218.9,-9.8)], 2.6, ends="flush", simple_path=True, layer=13, datatype=0))  # L13_0
opamp.add(gdstk.FlexPath([(-171.7,16.2),(-171.7,-12.5)], 2.6, ends="flush", simple_path=True, layer=13, datatype=0))  # L13_0
opamp.add(gdstk.FlexPath([(-152.3,16.2),(-152.3,-12.5)], 2.6, ends="flush", simple_path=True, layer=13, datatype=0))  # L13_0
opamp.add(gdstk.FlexPath([(-169,-11.2),(-155,-11.2)], 2.6, ends="flush", simple_path=True, layer=13, datatype=0))  # L13_0
opamp.add(gdstk.FlexPath([(-255,80),(-255,60)], 10, ends="flush", simple_path=True, layer=13, datatype=0))  # L13_0
opamp.add(gdstk.FlexPath([(-295,100),(-295,-35.3)], 10, ends="flush", simple_path=True, layer=13, datatype=0))  # L13_0
opamp.add(gdstk.FlexPath([(-144.3,16.2),(-144.3,0.2),(-83.7,0.2),(-83.7,6.6)], 2.6, ends="flush", simple_path=True, layer=13, datatype=0))  # L13_0
opamp.add(gdstk.FlexPath([(-223.7,38.7),(-123.1,38.7)], 2.6, ends="flush", simple_path=True, layer=13, datatype=0))  # L13_0
opamp.add(gdstk.FlexPath([(-131.8,15.9),(-141.6,15.9)], 2.6, ends="flush", simple_path=True, layer=13, datatype=0))  # L13_0
opamp.add(gdstk.FlexPath([(-260,65),(-75.1,65)], 10, ends="flush", simple_path=True, layer=13, datatype=0))  # L13_0
opamp.add(gdstk.FlexPath([(-76.4,60),(-76.4,44.5),(-74.6,44.5)], 2.6, ends="flush", simple_path=True, layer=13, datatype=0))  # L13_0
opamp.add(gdstk.FlexPath([(-124.4,47.2),(-124.4,37.4)], 2.6, ends="flush", simple_path=True, layer=13, datatype=0))  # L13_0
opamp.add(gdstk.FlexPath([(-109.4,5.3),(-86.4,5.3)], 2.6, ends="flush", simple_path=True, layer=13, datatype=0))  # L13_0
opamp.add(gdstk.FlexPath([(-84.5,20.1),(-76.4,20.1),(-76.4,-35.3)], 2.6, ends="flush", simple_path=True, layer=13, datatype=0))  # L13_0
opamp.add(gdstk.FlexPath([(-91.6,-25.3),(-91.6,-9.8),(-89.8,-9.8)], 2.6, ends="flush", simple_path=True, layer=13, datatype=0))  # L13_0
opamp.add(gdstk.FlexPath([(-153.6,-11.2),(-106.3,-11.2)], 2.6, ends="flush", simple_path=True, layer=13, datatype=0))  # L13_0
opamp.add(gdstk.FlexPath([(-300,-30.3),(-75.1,-30.3)], 10, ends="flush", simple_path=True, layer=13, datatype=0))  # L13_0
opamp.add(gdstk.FlexPath([(-223.7,47.2),(-223.7,38.7),(-246.7,38.7),(-246.7,46.2)], 2.6, ends="flush", simple_path=True, layer=13, datatype=0))  # L13_0
opamp.add(gdstk.FlexPath([(-279.9,44.9),(-237.8,44.9)], 2.6, ends="flush", simple_path=True, layer=13, datatype=0))  # L13_0
opamp.add(gdstk.FlexPath([(-275,100),(-275,43.6)], 10, ends="flush", simple_path=True, layer=13, datatype=0))  # L13_0
opamp.add(gdstk.FlexPath([(-182.4,15.9),(-193.2,15.9)], 2.6, ends="flush", simple_path=True, layer=13, datatype=0))  # L13_0
opamp.add(gdstk.FlexPath([(-234.7,60),(-234.7,44.5),(-232.9,44.5)], 2.6, ends="flush", simple_path=True, layer=13, datatype=0))  # L13_0
opamp.add(gdstk.FlexPath([(-199.7,60),(-199.7,44.5),(-197.9,44.5)], 2.6, ends="flush", simple_path=True, layer=13, datatype=0))  # L13_0
opamp.add(gdstk.FlexPath([(-150.5,60),(-150.5,44.5),(-148.7,44.5)], 2.6, ends="flush", simple_path=True, layer=13, datatype=0))  # L13_0
opamp.add(gdstk.FlexPath([(-174.5,47.2),(-174.5,37.4)], 2.6, ends="flush", simple_path=True, layer=13, datatype=0))  # L13_0
opamp.add(gdstk.FlexPath([(-176.6,31.3),(-162.5,31.3),(-147.4,31.3)], 2.6, ends="flush", simple_path=True, layer=13, datatype=0))  # L13_0
opamp.add(gdstk.FlexPath([(-162.5,46.2),(-162.5,42)], 2.6, ends="flush", simple_path=True, layer=13, datatype=0))  # L13_0
opamp.add(gdstk.FlexPath([(-211.7,46.2),(-211.7,42)], 2.6, ends="flush", simple_path=True, layer=13, datatype=0))  # L13_0
opamp.add(gdstk.FlexPath([(-210,17),(-238.4,17)], 3.4, ends="flush", simple_path=True, layer=20, datatype=0))  # L20_0
opamp.add(gdstk.FlexPath([(-211.7,45.4),(-211.7,5.3),(-106.5,5.3)], 3.4, ends="flush", simple_path=True, layer=20, datatype=0))  # L20_0
opamp.add(gdstk.FlexPath([(-100.4,38.7),(-100.4,-11.5)], 3.4, ends="flush", simple_path=True, layer=20, datatype=0))  # L20_0
opamp.add(gdstk.FlexPath([(-191.5,100),(-191.5,14.2)], 3.4, ends="flush", simple_path=True, layer=20, datatype=0))  # L20_0
opamp.add(gdstk.FlexPath([(-132.5,100),(-132.5,14.2)], 3.4, ends="flush", simple_path=True, layer=20, datatype=0))  # L20_0
opamp.add(gdstk.FlexPath([(-162.5,45.4),(-162.5,32),(-162.5,32)], 3.4, ends="flush", simple_path=True, layer=20, datatype=0))  # L20_0
opamp.add(gdstk.Reference(mp_4, (-125.7,45)))
opamp.add(gdstk.Reference(mp_9, (-260,45)))
opamp.add(gdstk.Reference(c_mp, (-185,15)))
opamp.add(gdstk.Reference(mp_9, (-175.8,45)))
opamp.add(gdstk.Reference(mn_5, (-238,-6.5)))
opamp.add(gdstk.Reference(mn_5, (-238,-27.5)))
opamp.add(gdstk.Reference(mp_9, (-225,45)))
opamp.add(gdstk.Reference(via, (-191.5,15.9), rotation=pi))
opamp.add(gdstk.Reference(via, (-162.5,33.3), rotation=pi))
opamp.add(gdstk.Reference(via, (-162.5,43.7), rotation=pi))
opamp.add(gdstk.Reference(via, (-236.7,17), rotation=pi))
opamp.add(gdstk.Reference(via, (-211.7,43.7), rotation=pi))
opamp.add(gdstk.Reference(c_mn, (-157.6,-27.5)))
opamp.add(gdstk.Reference(c_mn, (-166.4,-27.5), rotation=pi, x_reflection=True))
opamp.add(gdstk.Reference(via, (-107.7,5.3), rotation=pi))
opamp.add(gdstk.Reference(via, (-100.4,38.7), rotation=pi))
opamp.add(gdstk.Reference(mn_10, (-89,19.6), x_reflection=True))
opamp.add(gdstk.Reference(via, (-132.5,15.9), rotation=pi))
opamp.add(gdstk.Reference(mn_11, (-108.9,-27.5)))
opamp.add(gdstk.Reference(via, (-100.4,-9.8), rotation=pi))
opamp.add(gdstk.Reference(csio, (19.4,29), rotation=3*pi/2))
opamp.add(gdstk.Reference(c_mp, (-139,15), rotation=pi, x_reflection=True))
opamp.add(gdstk.Label('VDD', (-258,77.6), layer=13, texttype=0))
opamp.add(gdstk.Label('IB', (-276.6,97.6), layer=13, texttype=0))
opamp.add(gdstk.Label('VSS', (-297.9,97.6), layer=13, texttype=0))
opamp.add(gdstk.Label('OUT', (-59.8,97.6), layer=13, texttype=0))
opamp.add(gdstk.Label('VINP', (-136.2,97.6), layer=20, texttype=0))
opamp.add(gdstk.Label('VINN', (-195.3,97.6), layer=20, texttype=0))

lib.write_gds('OPAMP.gds')
